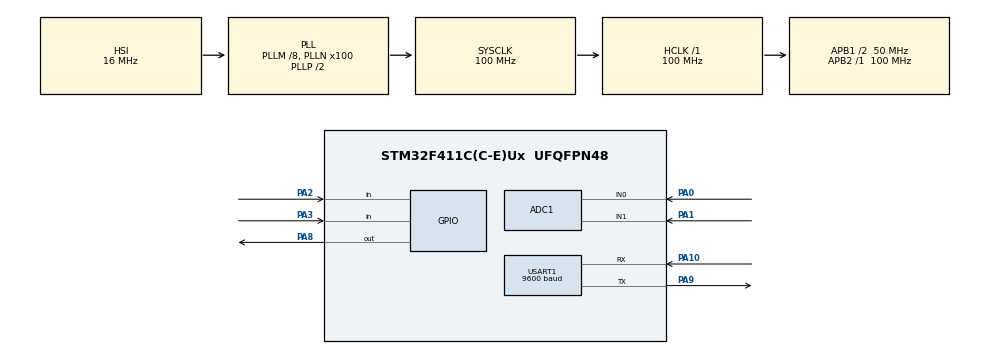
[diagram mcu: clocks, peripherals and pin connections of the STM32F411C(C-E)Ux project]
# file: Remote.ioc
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ADC1.Channel-0\#ChannelRegularConversion=ADC_CHANNEL_0
ADC1.Channel-1\#ChannelRegularConversion=ADC_CHANNEL_1
ADC1.ContinuousConvMode=ENABLE
ADC1.DMAContinuousRequests=ENABLE
ADC1.NbrOfConversion=2
ADC1.NbrOfConversionFlag=1
ADC1.Rank-0\#ChannelRegularConversion=1
ADC1.Rank-1\#ChannelRegularConversion=2
ADC1.SamplingTime-0\#ChannelRegularConversion=ADC_SAMPLETIME_144CYCLES
ADC1.SamplingTime-1\#ChannelRegularConversion=ADC_SAMPLETIME_144CYCLES
ADC1.master=1
Dma.ADC1.0.Direction=DMA_PERIPH_TO_MEMORY
Dma.ADC1.0.FIFOMode=DMA_FIFOMODE_DISABLE
Dma.ADC1.0.Instance=DMA2_Stream0
Dma.ADC1.0.MemDataAlignment=DMA_MDATAALIGN_HALFWORD
Dma.ADC1.0.MemInc=DMA_MINC_ENABLE
Dma.ADC1.0.Mode=DMA_CIRCULAR
Dma.ADC1.0.PeriphDataAlignment=DMA_PDATAALIGN_HALFWORD
Dma.ADC1.0.PeriphInc=DMA_PINC_DISABLE
Dma.ADC1.0.Priority=DMA_PRIORITY_LOW
Dma.Request0=ADC1
Mcu.Family=STM32F4
Mcu.Name=STM32F411C(C-E)Ux
Mcu.Package=UFQFPN48
NVIC.DMA2_Stream0_IRQn=true\:0\:0\:false\:false\:true\:false\:true\:true
NVIC.PriorityGroup=NVIC_PRIORITYGROUP_4
NVIC.USART1_IRQn=true\:0\:0\:false\:false\:true\:true\:true\:true
PA0-WKUP.Signal=ADCx_IN0
PA1.Signal=ADCx_IN1
PA10.Mode=Asynchronous
PA10.Signal=USART1_RX
PA2.GPIO_PuPd=GPIO_PULLUP
PA2.Signal=GPIO_Input
PA3.GPIO_PuPd=GPIO_PULLUP
PA3.Signal=GPIO_Input
PA8.Signal=GPIO_Output
PA9.Mode=Asynchronous
PA9.Signal=USART1_TX
PH0\ -\ OSC_IN.Mode=HSE-External-Oscillator
PH0\ -\ OSC_IN.Signal=RCC_OSC_IN
PH1\ -\ OSC_OUT.Mode=HSE-External-Oscillator
PH1\ -\ OSC_OUT.Signal=RCC_OSC_OUT
ProjectManager.HeapSize=0x200
ProjectManager.StackSize=0x400
ProjectManager.TargetToolchain=STM32CubeIDE
RCC.48MHZClocksFreq_Value=50000000
RCC.AHBFreq_Value=100000000
RCC.APB1CLKDivider=RCC_HCLK_DIV2
RCC.APB1Freq_Value=50000000
RCC.APB1TimFreq_Value=100000000
RCC.APB2Freq_Value=100000000
RCC.APB2TimFreq_Value=100000000
RCC.CortexFreq_Value=100000000
RCC.HCLKFreq_Value=100000000
RCC.HSE_VALUE=8000000
RCC.HSI_VALUE=16000000
RCC.LSE_VALUE=32768
RCC.PLLM=8
RCC.PLLN=100
RCC.SYSCLKFreq_VALUE=100000000
RCC.SYSCLKSource=RCC_SYSCLKSOURCE_PLLCLK
RCC.VCOOutputFreq_Value=200000000
SH.ADCx_IN0.0=ADC1_IN0,IN0
SH.ADCx_IN1.0=ADC1_IN1,IN1
USART1.BaudRate=9600
USART1.VirtualMode=VM_ASYNC
board=custom

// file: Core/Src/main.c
/* USER CODE BEGIN Header */
/**
  ******************************************************************************
  * @file           : main.c
  * @brief          : Main program body
  ******************************************************************************
  * @attention
  *
  * Copyright (c) 2026 STMicroelectronics.
  * All rights reserved.
  *
  * This software is licensed under terms that can be found in the LICENSE file
  * in the root directory of this software component.
  * If no LICENSE file comes with this software, it is provided AS-IS.
  *
  ******************************************************************************
  */
/* USER CODE END Header */
#include "main.h"
#include "adc.h"
#include "dma.h"
#include "usart.h"
#include "gpio.h"

/* USER CODE BEGIN Includes */

#include <string.h>
#include "bt_master.h"

/* USER CODE END Includes */

/* USER CODE BEGIN PV */

uint16_t adc_y = 0;  // S-Y1
uint16_t adc_x = 0;  // S-X2
uint8_t  bt_cmd = 'S';
uint8_t  bt_cmd_prev = 'S';

/* USER CODE END PV */

void SystemClock_Config(void);

int main(void)
{

  /* MCU Configuration--------------------------------------------------------*/

  /* Reset of all peripherals, Initializes the Flash interface and the Systick. */
  HAL_Init();

  /* Configure the system clock */
  SystemClock_Config();

  /* Initialize all configured peripherals */
  MX_GPIO_Init();
  MX_DMA_Init();
  MX_USART1_UART_Init();
  MX_ADC1_Init();
  /* USER CODE BEGIN 2 */

//  BT_Connect();

  /* USER CODE END 2 */

  /* Infinite loop */
  /* USER CODE BEGIN WHILE */
  while (1)
  {

	  // 1. 버튼 상태 먼저 읽기
	      if (HAL_GPIO_ReadPin(GPIOA, GPIO_PIN_2) == GPIO_PIN_RESET) // SWA: 오토 모드
	      {
	          bt_cmd = 'A';
	          HAL_UART_Transmit(&huart1, &bt_cmd, 1, 10);
	          bt_cmd_prev = bt_cmd;
	          HAL_Delay(300); // 500ms보다 조금 짧은 300ms 정도로도 충분합니다.
	          continue; // 버튼 처리 후 루프 처음으로 돌아가서 조이스틱 로직 건너뜀
	      }
	      else if (HAL_GPIO_ReadPin(GPIOA, GPIO_PIN_3) == GPIO_PIN_RESET) // SWB: 매뉴얼 모드
	      {
	          bt_cmd = 'P';
	          HAL_UART_Transmit(&huart1, &bt_cmd, 1, 10);
	          bt_cmd_prev = bt_cmd;
	          HAL_Delay(300);
	          continue;
	      }

	  // 1. ADC 변환 시작 (Rank 1, 2 순차 실행)
	      HAL_ADC_Start(&hadc1);

	      // 2. Rank 1 (PA0 - X축) 변환 완료 대기 및 읽기
	      if (HAL_ADC_PollForConversion(&hadc1, 10) == HAL_OK)
	      {
	          adc_x = HAL_ADC_GetValue(&hadc1);
	      }

	      // 3. Rank 2 (PA1 - Y축) 변환 완료 대기 및 읽기
	      if (HAL_ADC_PollForConversion(&hadc1, 10) == HAL_OK)
	      {
	          adc_y = HAL_ADC_GetValue(&hadc1);
	      }

	      // 4. ADC 변환 중단
	      HAL_ADC_Stop(&hadc1);

	      // --- 조이스틱 방향 판별 및 전송 로직 ---
	      if (adc_y > 3000)
		  {
	    	  if(adc_y > 4000) bt_cmd = 'F';	//전진
	    	  else bt_cmd = 'Q';				//약전진
		  }
	      else if (adc_y < 1000)
		  {
			  if(adc_y < 200) bt_cmd = 'B';		//후진
			  else bt_cmd = 'W';				//약후진
		  }

	      else if (adc_x > 3000)
		  {
			  if(adc_x > 4000) bt_cmd = 'L';	//전진
			  else bt_cmd = 'E';				//약전진
		  }
		  else if (adc_x < 1000)
		  {
			  if(adc_x < 200) bt_cmd = 'R';		//후진
			  else bt_cmd = 'T';				//약후진
		  }
		  else bt_cmd = 'S';

	      if (bt_cmd != bt_cmd_prev)
	      {
	          HAL_UART_Transmit(&huart1, &bt_cmd, 1, 10);
	          bt_cmd_prev = bt_cmd;
	      }

	      HAL_Delay(50);

    /* USER CODE END WHILE */

  }
}

void SystemClock_Config(void)
{
  RCC_OscInitTypeDef RCC_OscInitStruct = {0};
  RCC_ClkInitTypeDef RCC_ClkInitStruct = {0};

  /** Configure the main internal regulator output voltage
  */
  __HAL_RCC_PWR_CLK_ENABLE();
  __HAL_PWR_VOLTAGESCALING_CONFIG(PWR_REGULATOR_VOLTAGE_SCALE1);

  /** Initializes the RCC Oscillators according to the specified parameters
  * in the RCC_OscInitTypeDef structure.
  */
  RCC_OscInitStruct.OscillatorType = RCC_OSCILLATORTYPE_HSI;
  RCC_OscInitStruct.HSIState = RCC_HSI_ON;
  RCC_OscInitStruct.HSICalibrationValue = RCC_HSICALIBRATION_DEFAULT;
  RCC_OscInitStruct.PLL.PLLState = RCC_PLL_ON;
  RCC_OscInitStruct.PLL.PLLSource = RCC_PLLSOURCE_HSI;
  RCC_OscInitStruct.PLL.PLLM = 8;
  RCC_OscInitStruct.PLL.PLLN = 100;
  RCC_OscInitStruct.PLL.PLLP = RCC_PLLP_DIV2;
  RCC_OscInitStruct.PLL.PLLQ = 4;
  if (HAL_RCC_OscConfig(&RCC_OscInitStruct) != HAL_OK)
  {
    Error_Handler();
  }

  /** Initializes the CPU, AHB and APB buses clocks
  */
  RCC_ClkInitStruct.ClockType = RCC_CLOCKTYPE_HCLK|RCC_CLOCKTYPE_SYSCLK
                              |RCC_CLOCKTYPE_PCLK1|RCC_CLOCKTYPE_PCLK2;
  RCC_ClkInitStruct.SYSCLKSource = RCC_SYSCLKSOURCE_PLLCLK;
  RCC_ClkInitStruct.AHBCLKDivider = RCC_SYSCLK_DIV1;
  RCC_ClkInitStruct.APB1CLKDivider = RCC_HCLK_DIV2;
  RCC_ClkInitStruct.APB2CLKDivider = RCC_HCLK_DIV1;

  if (HAL_RCC_ClockConfig(&RCC_ClkInitStruct, FLASH_LATENCY_3) != HAL_OK)
  {
    Error_Handler();
  }
}

void Error_Handler(void)
{
  __disable_irq();
  while (1)
  {
  }
}
